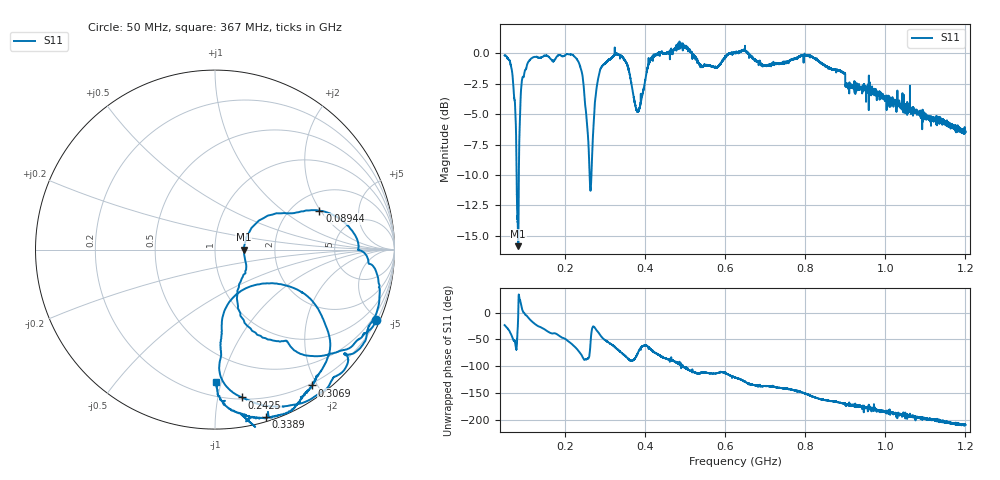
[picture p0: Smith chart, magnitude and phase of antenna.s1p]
! Calibrated high-resolution NanoVNA antenna measurement
# Hz S RI R 50
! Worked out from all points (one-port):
!   40001 points, 50 MHz to 1.2 GHz, reference 50 ohm
!   lowest |S11| = -15.9 dB at 84.07 MHz (marker M1), VSWR 1.38, Z = 69.2 - j0.00677 ohm
!   |S11| at or under -10 dB: 79.97 MHz to 85.57 MHz (5.606 MHz wide, 6.77 % of centre); 262.1108 MHz to 262.1279 MHz (17.02 kHz wide, 0.00649 % of centre); 262.2 MHz to 266.6 MHz (4.494 MHz wide, 1.7 % of centre)
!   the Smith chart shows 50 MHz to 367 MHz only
!   S11 on the Smith chart (normalised r, x): 50 MHz: 0.24, -4.81; 89.44 MHz: 2.77, +1.96; 242.5 MHz: 0.21, -1.18; 306.9 MHz: 0.17, -1.93; 338.9 MHz: 0.04, -1.35; 367 MHz: 0.29, -0.97
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5e7  0.8997 -0.3901
7.251125e7  0.4354 -0.5549
7.946875e7  0.1331 -0.3425
8.406875e7  0.1611 -4.76e-05
8.9445e7  0.5822 0.2165
9.660375e7  0.7986 0.00313
1.133075e8  0.9154 -0.2127
1.9375e8  0.6668 -0.7085
2.425388e8  0.1506 -0.8238
2.577475e8  0.0367 -0.4616
2.685288e8  0.3334 -0.188
2.824438e8  0.6267 -0.4481
3.069388e8  0.5407 -0.7568
3.375e8  0.304 -0.9361
3.389375e8  0.2821 -0.9332
3.670262e8  0.00676 -0.7415
3.855988e8  0.1994 -0.5516
4.058675e8  0.396 -0.7583
4.304775e8  0.2282 -0.9666
4.8125e8  -0.0706 -1.06
5.399e8  -0.3388 -0.8217
5.935188e8  -0.3328 -0.8686
6.25e8  -0.5052 -0.8666
7.6875e8  -0.7606 -0.5595
8.22225e8  -0.8815 -0.3712
9.125e8  -0.7397 -0.1128
1.05625e9  -0.5821 0.1194
1.2e9  -0.4097 0.2255
